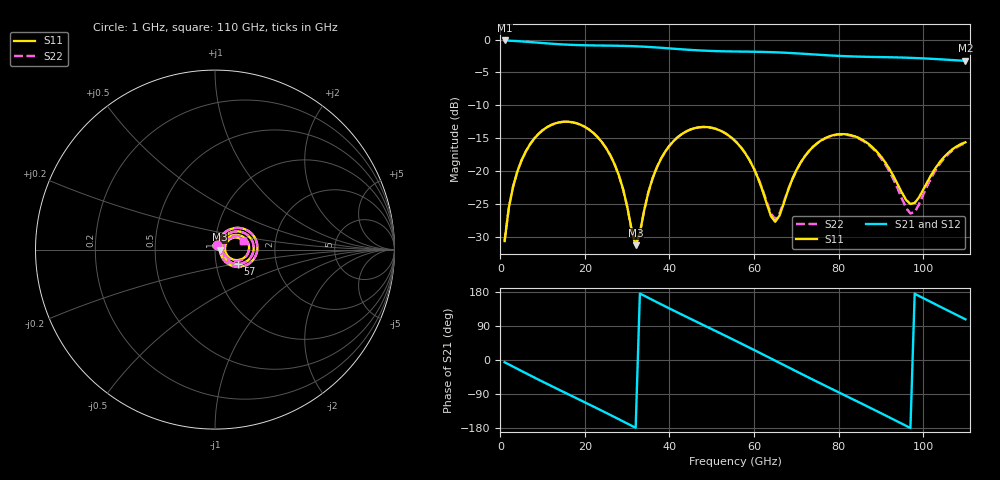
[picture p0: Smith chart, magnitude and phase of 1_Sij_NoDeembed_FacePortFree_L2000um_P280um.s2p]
! Touchstone file exported from HFSS 2024.2.0
!  File:  C:/Users/vaintrug/Documents/Ansoft_Workspace/Comparaison_Calculs_HFSS/1_VarPort.aedt
!  Generated:  03:22:19 PM Jan 21, 2025
!  Design:  1_NoDeembed_FacePortFree
!  Project:  1_VarPort
!  Setup:  Setup1
!  Solution:  Sweep
! Variables:
!  $Lenght = 2000um
!  $PortSize = 280um
!  Gap = 30um
!  Th = 2um
!  X_centralStrip = 20um
!  X_masse = 200um
!  Y_Sub = 2mm
!  Z_Box = 400um
!  Z_Sub = 200um
# GHz S MA R 50.000000
! Terminal data exported
! Port[1] = 1
! Port[2] = 2
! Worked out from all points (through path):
!   110 points, 1 GHz to 110 GHz, reference 50 ohm
!   highest |S21| = -0.13 dB at 1 GHz (marker M1); lowest = -3.2 dB at 110 GHz (marker M2)
!   group delay of S21, straight-line fit = 15.4 ps
!   lowest |S11| = -31.3 dB at 32 GHz (marker M3), VSWR 1.06, Z = 52.8 - j0.0785 ohm
!   |S11| at or under -10 dB: start of sweep to end of sweep
!   |S22| runs from -31.5 to -12.5 dB; largest |S21 - S12| = 1.3e-14
!   S11 on the Smith chart (normalised r, x): 1 GHz: 1.03, +0.05; 57 GHz: 1.27, -0.21; 110 GHz: 1.37, +0.13
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1  0.02922 62.4  0.9854 -5.9  0.9854 -5.9  0.02922 62.4
! Gamma 5.76110104155851 49.6454561226433 5.91499333582332 50.0210985288031
! Port Impedance 50 0 50 0
3  0.0758 66.0  0.9779 -17.5  0.9779 -17.5  0.07579 66.0
7  0.1592 48.6  0.9585 -40.4  0.9585 -40.4  0.1592 48.6
13  0.2303 17.8  0.9266 -73.7  0.9266 -73.7  0.2302 17.8
20  0.2164 -17.1  0.9055 -111.8  0.9055 -111.8  0.2162 -17.2
27  0.1126 -46.9  0.8987 -150.6  0.8987 -150.6  0.1124 -47.2
32  0.0272 -1.6  0.8896 -178.9  0.8896 -178.9  0.0267 -1.6
35  0.06855 53.3  0.8796 164.1  0.8796 164.1  0.06838 53.6
38  0.1238 48.3  0.8667 147.1  0.8667 147.1  0.1238 48.5
43  0.1916 27.7  0.8433 119.4  0.8433 119.4  0.1915 27.8
47  0.2149 9.6  0.8278 97.7  0.8278 97.7  0.2149 9.7
56  0.1631 -29.1  0.8115 48.7  0.8115 48.7  0.1634 -28.9
57  0.1496 -32.7  0.8107 43.2  0.8107 43.2  0.1501 -32.4
65  0.04096 1.7  0.8007 -1.7  0.8007 -1.7  0.04299 0.7
70  0.1006 42.5  0.7861 -29.9  0.7861 -29.9  0.1008 40.5
74  0.1531 31.9  0.7716 -52.2  0.7716 -52.2  0.1527 30.1
83  0.1869 -3.7  0.7451 -101.6  0.7451 -101.6  0.1853 -5.9
92  0.1039 -29.4  0.7339 -151.3  0.7339 -151.3  0.09956 -33.9
96  0.05997 -12.6  0.7284 -173.9  0.7284 -173.9  0.052 -16.4
98  0.05697 11.7  0.7244 174.8  0.7244 174.8  0.04866 13.4
104  0.1173 33.3  0.708 140.9  0.708 140.9  0.1137 36.0
110  0.1652 16.1  0.6896 107.4  0.6896 107.4  0.1627 17.0
